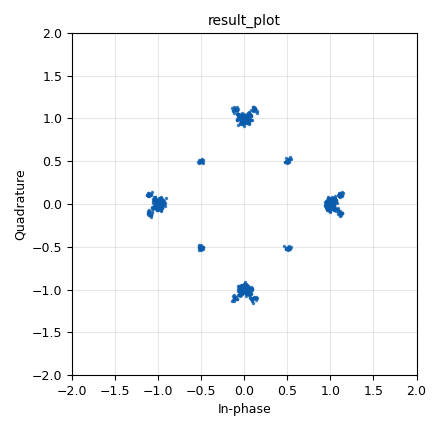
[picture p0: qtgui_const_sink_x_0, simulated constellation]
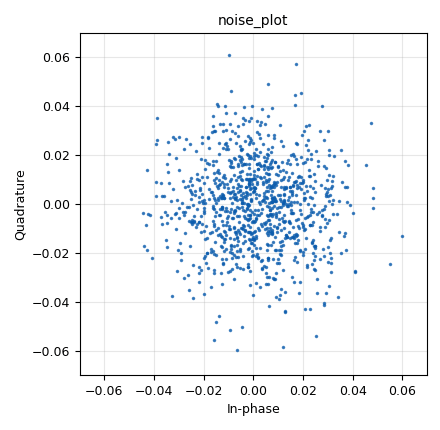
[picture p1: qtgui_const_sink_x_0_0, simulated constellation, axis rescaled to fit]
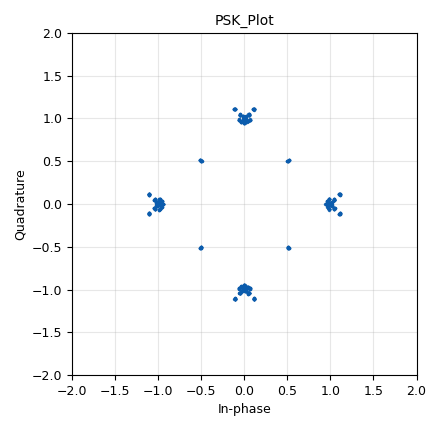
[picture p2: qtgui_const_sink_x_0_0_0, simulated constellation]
<?xml version='1.0' encoding='utf-8'?>
<?grc format='1' created='3.7.11'?>
<flow_graph>
<block>
<key>options</key>
<param><key>id</key><value>top_block</value></param>
<param><key>category</key><value>Custom</value></param>
<param><key>generate_options</key><value>qt_gui</value></param>
</block>
<block>
<key>variable</key>
<param><key>id</key><value>samp_rate</value></param>
<param><key>value</key><value>320e3</value></param>
</block>
<block>
<key>analog_noise_source_x</key>
<param><key>id</key><value>analog_noise_source_x_0</value></param>
<param><key>amp</key><value>0.025</value></param>
<param><key>noise_type</key><value>analog.GR_GAUSSIAN</value></param>
<param><key>type</key><value>complex</value></param>
<param><key>seed</key><value>0</value></param>
</block>
<block>
<key>analog_random_source_x</key>
<param><key>id</key><value>analog_random_source_x_0</value></param>
<param><key>max</key><value>2</value></param>
<param><key>min</key><value>0</value></param>
<param><key>num_samps</key><value>10000000</value></param>
<param><key>type</key><value>byte</value></param>
<param><key>repeat</key><value>True</value></param>
</block>
<block>
<key>blocks_add_xx</key>
<param><key>id</key><value>blocks_add_xx_0</value></param>
<param><key>type</key><value>complex</value></param>
</block>
<block>
<key>blocks_throttle</key>
<param><key>id</key><value>blocks_throttle_0</value></param>
<param><key>samples_per_second</key><value>samp_rate</value></param>
<param><key>type</key><value>complex</value></param>
</block>
<block>
<key>digital_psk_mod</key>
<param><key>id</key><value>digital_psk_mod_0</value></param>
<param><key>differential</key><value>True</value></param>
<param><key>excess_bw</key><value>350e-3</value></param>
<param><key>mod_code</key><value>"gray"</value></param>
<param><key>constellation_points</key><value>4</value></param>
<param><key>samples_per_symbol</key><value>2</value></param>
</block>
<block>
<key>qtgui_const_sink_x</key>
<param><key>id</key><value>qtgui_const_sink_x_0</value></param>
<param><key>name</key><value>result_plot</value></param>
<param><key>size</key><value>1024</value></param>
<param><key>type</key><value>complex</value></param>
</block>
<block>
<key>qtgui_const_sink_x</key>
<param><key>id</key><value>qtgui_const_sink_x_0_0</value></param>
<param><key>name</key><value>noise_plot</value></param>
<param><key>size</key><value>1024</value></param>
<param><key>type</key><value>complex</value></param>
</block>
<block>
<key>qtgui_const_sink_x</key>
<param><key>id</key><value>qtgui_const_sink_x_0_0_0</value></param>
<param><key>name</key><value>PSK_Plot</value></param>
<param><key>size</key><value>1024</value></param>
<param><key>type</key><value>complex</value></param>
</block>
<connection><source_block_id>analog_noise_source_x_0</source_block_id><sink_block_id>blocks_add_xx_0</sink_block_id><source_key>0</source_key><sink_key>1</sink_key></connection>
<connection><source_block_id>analog_noise_source_x_0</source_block_id><sink_block_id>qtgui_const_sink_x_0_0</sink_block_id><source_key>0</source_key><sink_key>0</sink_key></connection>
<connection><source_block_id>analog_random_source_x_0</source_block_id><sink_block_id>digital_psk_mod_0</sink_block_id><source_key>0</source_key><sink_key>0</sink_key></connection>
<connection><source_block_id>blocks_add_xx_0</source_block_id><sink_block_id>blocks_throttle_0</sink_block_id><source_key>0</source_key><sink_key>0</sink_key></connection>
<connection><source_block_id>blocks_throttle_0</source_block_id><sink_block_id>qtgui_const_sink_x_0</sink_block_id><source_key>0</source_key><sink_key>0</sink_key></connection>
<connection><source_block_id>digital_psk_mod_0</source_block_id><sink_block_id>blocks_add_xx_0</sink_block_id><source_key>0</source_key><sink_key>0</sink_key></connection>
<connection><source_block_id>digital_psk_mod_0</source_block_id><sink_block_id>qtgui_const_sink_x_0_0_0</sink_block_id><source_key>0</source_key><sink_key>0</sink_key></connection>
</flow_graph>
